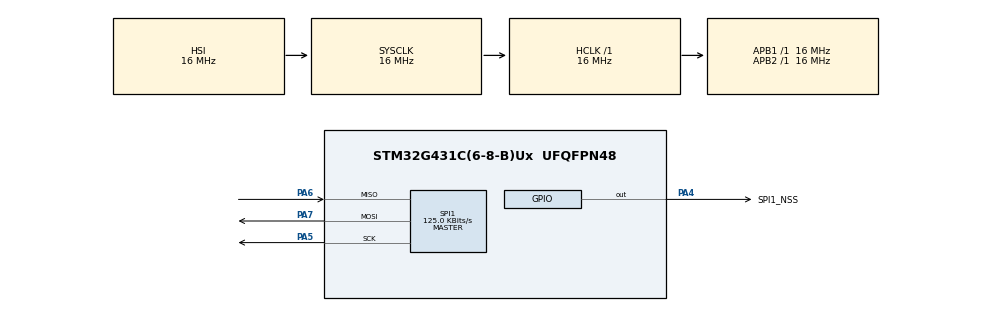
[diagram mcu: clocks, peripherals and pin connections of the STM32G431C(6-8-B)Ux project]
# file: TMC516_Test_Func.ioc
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Mcu.Family=STM32G4
Mcu.Name=STM32G431C(6-8-B)Ux
Mcu.Package=UFQFPN48
NVIC.PriorityGroup=NVIC_PRIORITYGROUP_4
PA4.GPIO_Label=SPI1_NSS
PA4.Signal=GPIO_Output
PA5.Mode=Full_Duplex_Master
PA5.Signal=SPI1_SCK
PA6.Mode=Full_Duplex_Master
PA6.Signal=SPI1_MISO
PA7.Mode=Full_Duplex_Master
PA7.Signal=SPI1_MOSI
PF0-OSC_IN.Mode=HSE-External-Oscillator
PF0-OSC_IN.Signal=RCC_OSC_IN
PF1-OSC_OUT.Mode=HSE-External-Oscillator
PF1-OSC_OUT.Signal=RCC_OSC_OUT
ProjectManager.HeapSize=0x200
ProjectManager.StackSize=0x400
ProjectManager.TargetToolchain=STM32CubeIDE
RCC.AHBFreq_Value=16000000
RCC.APB1Freq_Value=16000000
RCC.APB1TimFreq_Value=16000000
RCC.APB2Freq_Value=16000000
RCC.APB2TimFreq_Value=16000000
RCC.CortexFreq_Value=16000000
RCC.EXTERNAL_CLOCK_VALUE=12288000
RCC.HCLKFreq_Value=16000000
RCC.HSE_VALUE=8000000
RCC.HSI48_VALUE=48000000
RCC.HSI_VALUE=16000000
RCC.LSE_VALUE=32768
RCC.SYSCLKFreq_VALUE=16000000
RCC.USBFreq_Value=64000000
RCC.VCOOutputFreq_Value=128000000
SPI1.BaudRatePrescaler=SPI_BAUDRATEPRESCALER_128
SPI1.CalculateBaudRate=125.0 KBits/s
SPI1.DataSize=SPI_DATASIZE_8BIT
SPI1.Direction=SPI_DIRECTION_2LINES
SPI1.Mode=SPI_MODE_MASTER
SPI1.VirtualType=VM_MASTER
board=custom

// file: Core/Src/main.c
/* USER CODE BEGIN Header */
/**
  ******************************************************************************
  * @file           : main.c
  * @brief          : Main program body
  ******************************************************************************
  * @attention
  *
  * Copyright (c) 2023 STMicroelectronics.
  * All rights reserved.
  *
  * This software is licensed under terms that can be found in the LICENSE file
  * in the root directory of this software component.
  * If no LICENSE file comes with this software, it is provided AS-IS.
  *
  ******************************************************************************
  */
/* USER CODE END Header */
#include "main.h"

/* USER CODE BEGIN Includes */
#include "TMC5160.h"
/* USER CODE END Includes */

SPI_HandleTypeDef hspi1;

void SystemClock_Config(void);
static void MX_GPIO_Init(void);
static void MX_SPI1_Init(void);

/* USER CODE BEGIN 0 */

uint8_t cmd_init[5][5]= {
		{0xEC, 0x00, 0x01, 0x00, 0xC3},
		{0x90,0x00,0x06,0x1F,0x0A},
		{0x91, 0x00, 0x00, 0x00, 0x0A},
		{0x80, 0x00, 0x00, 0x00, 0x04},
		{0x93, 0x00, 0x00, 0x01, 0xF4},

};

uint8_t cmd_enable[8][5]= {
		{0xA4, 0x00, 0x00, 0x03, 0xE8},
		{0xA5, 0x00, 0x00, 0xC3, 0x50},
		{0xA6, 0x00, 0x00, 0x01, 0xF4},
		{0xA7, 0x00, 0x03, 0x0D, 0x40},
		{0xA8, 0x00, 0x00, 0x02, 0xBC},
		{0xAA, 0x00, 0x00, 0x05, 0x78},
		{0xAB, 0x00, 0x00, 0x00, 0x0A},
		{0xA0, 0x00, 0x00, 0x00, 0x00},

};

uint8_t cmd_move[] = {0xAD, 0xFF, 0xFF, 0x38, 0x00};
uint8_t cmd_move2[] = {0xAD, 0xAF, 0xFF, 0x38, 0x00};
uint8_t cmd_read[] = {0x21, 0x00, 0x00, 0x00, 0x00};

/* USER CODE END 0 */

int main(void)
{

  /* MCU Configuration--------------------------------------------------------*/

  /* Reset of all peripherals, Initializes the Flash interface and the Systick. */
  HAL_Init();

  /* Configure the system clock */
  SystemClock_Config();

  /* Initialize all configured peripherals */
  MX_GPIO_Init();
  MX_SPI1_Init();
  /* USER CODE BEGIN 2 */
  TMC5160_HandleTypeDef htmc = { &hspi1, GPIOA, SPI1_NSS_Pin};
  TMC5160_default_init(&htmc);
  /* USER CODE END 2 */

  /* Infinite loop */
  while (1)
  {

  }
}

void SystemClock_Config(void)
{
  RCC_OscInitTypeDef RCC_OscInitStruct = {0};
  RCC_ClkInitTypeDef RCC_ClkInitStruct = {0};

  /** Configure the main internal regulator output voltage
  */
  HAL_PWREx_ControlVoltageScaling(PWR_REGULATOR_VOLTAGE_SCALE1);

  /** Initializes the RCC Oscillators according to the specified parameters
  * in the RCC_OscInitTypeDef structure.
  */
  RCC_OscInitStruct.OscillatorType = RCC_OSCILLATORTYPE_HSI;
  RCC_OscInitStruct.HSIState = RCC_HSI_ON;
  RCC_OscInitStruct.HSICalibrationValue = RCC_HSICALIBRATION_DEFAULT;
  RCC_OscInitStruct.PLL.PLLState = RCC_PLL_NONE;
  if (HAL_RCC_OscConfig(&RCC_OscInitStruct) != HAL_OK)
  {
    Error_Handler();
  }

  /** Initializes the CPU, AHB and APB buses clocks
  */
  RCC_ClkInitStruct.ClockType = RCC_CLOCKTYPE_HCLK|RCC_CLOCKTYPE_SYSCLK
                              |RCC_CLOCKTYPE_PCLK1|RCC_CLOCKTYPE_PCLK2;
  RCC_ClkInitStruct.SYSCLKSource = RCC_SYSCLKSOURCE_HSI;
  RCC_ClkInitStruct.AHBCLKDivider = RCC_SYSCLK_DIV1;
  RCC_ClkInitStruct.APB1CLKDivider = RCC_HCLK_DIV1;
  RCC_ClkInitStruct.APB2CLKDivider = RCC_HCLK_DIV1;

  if (HAL_RCC_ClockConfig(&RCC_ClkInitStruct, FLASH_LATENCY_0) != HAL_OK)
  {
    Error_Handler();
  }
}

static void MX_SPI1_Init(void)
{

  /* SPI1 parameter configuration*/
  hspi1.Instance = SPI1;
  hspi1.Init.Mode = SPI_MODE_MASTER;
  hspi1.Init.Direction = SPI_DIRECTION_2LINES;
  hspi1.Init.DataSize = SPI_DATASIZE_8BIT;
  hspi1.Init.CLKPolarity = SPI_POLARITY_LOW;
  hspi1.Init.CLKPhase = SPI_PHASE_1EDGE;
  hspi1.Init.NSS = SPI_NSS_SOFT;
  hspi1.Init.BaudRatePrescaler = SPI_BAUDRATEPRESCALER_128;
  hspi1.Init.FirstBit = SPI_FIRSTBIT_MSB;
  hspi1.Init.TIMode = SPI_TIMODE_DISABLE;
  hspi1.Init.CRCCalculation = SPI_CRCCALCULATION_DISABLE;
  hspi1.Init.CRCPolynomial = 7;
  hspi1.Init.CRCLength = SPI_CRC_LENGTH_DATASIZE;
  hspi1.Init.NSSPMode = SPI_NSS_PULSE_ENABLE;
  if (HAL_SPI_Init(&hspi1) != HAL_OK)
  {
    Error_Handler();
  }

}

static void MX_GPIO_Init(void)
{
  GPIO_InitTypeDef GPIO_InitStruct = {0};

  /* GPIO Ports Clock Enable */
  __HAL_RCC_GPIOF_CLK_ENABLE();
  __HAL_RCC_GPIOA_CLK_ENABLE();

  /*Configure GPIO pin Output Level */
  HAL_GPIO_WritePin(SPI1_NSS_GPIO_Port, SPI1_NSS_Pin, GPIO_PIN_RESET);

  /*Configure GPIO pin : SPI1_NSS_Pin */
  GPIO_InitStruct.Pin = SPI1_NSS_Pin;
  GPIO_InitStruct.Mode = GPIO_MODE_OUTPUT_PP;
  GPIO_InitStruct.Pull = GPIO_NOPULL;
  GPIO_InitStruct.Speed = GPIO_SPEED_FREQ_LOW;
  HAL_GPIO_Init(SPI1_NSS_GPIO_Port, &GPIO_InitStruct);

}

void Error_Handler(void)
{
  __disable_irq();
  while (1)
  {
  }
}
